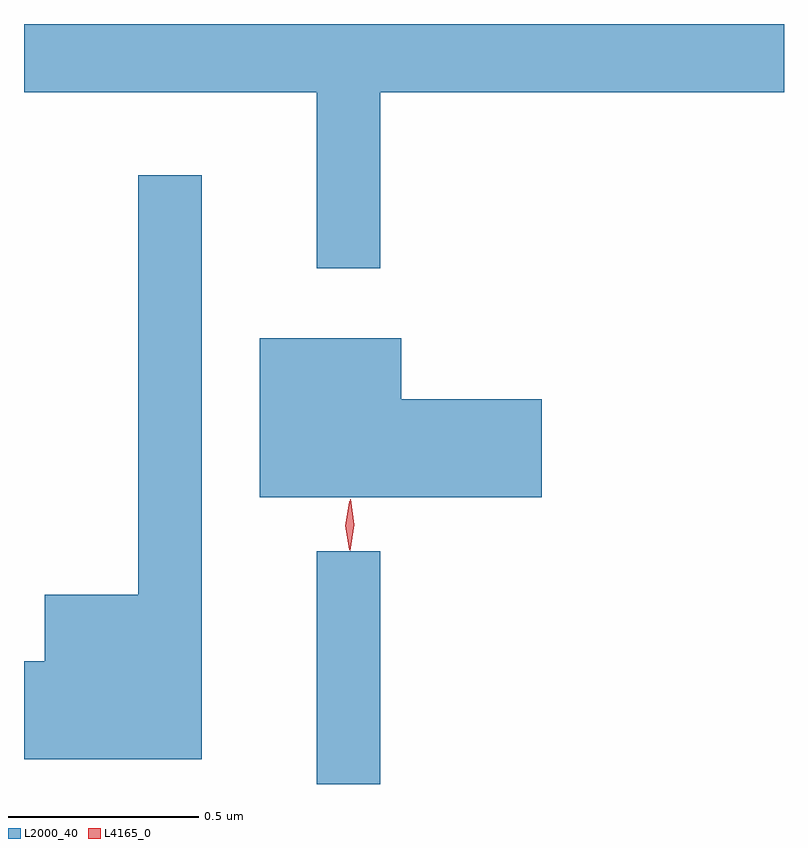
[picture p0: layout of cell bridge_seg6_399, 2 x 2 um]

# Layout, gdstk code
import gdstk
lib = gdstk.Library(unit=1e-6, precision=1e-09)
def R(c, l, rs):  # rectangles x0, y0, x1, y1
    for r in rs: c.add(gdstk.rectangle(r[:2], r[2:], *l))
def P(c, l, *ps):  # polygons
    for p in ps: c.add(gdstk.Polygon(p, *l))
L2000_40 = (2000, 40)
L4165_0 = (4165, 0)

bridge_seg6_399 = lib.new_cell('bridge_seg6_399')
R(bridge_seg6_399, L2000_40, [(957.861,1665.876,958.029,1666.488)])
P(bridge_seg6_399, L2000_40, [(958.029,1667.696),(959.091,1667.696),(959.091,1667.876),(957.091,1667.876),(957.091,1667.696),(957.861,1667.696),(957.861,1667.233),(958.029,1667.233)],
  [(957.559,1667.478),(957.391,1667.478),(957.391,1666.374),(957.146,1666.374),(957.146,1666.199),(957.091,1666.199),(957.091,1665.941),(957.559,1665.941)],
  [(958.454,1666.889),(958.084,1666.889),(958.084,1667.049),(957.711,1667.049),(957.711,1666.631),(958.454,1666.631)])
P(bridge_seg6_399, L4165_0, [(957.949,1666.49),(957.94,1666.558),(957.95,1666.626),(957.951,1666.626),(957.951,1666.626),(957.96,1666.558),(957.95,1666.49),(957.95,1666.49)],
  [(957.947,1666.493),(957.947,1666.493),(957.937,1666.556),(957.947,1666.619),(957.947,1666.62),(957.948,1666.619),(957.957,1666.556),(957.948,1666.493)])

lib.write_gds('bridge_seg6_399.gds')
